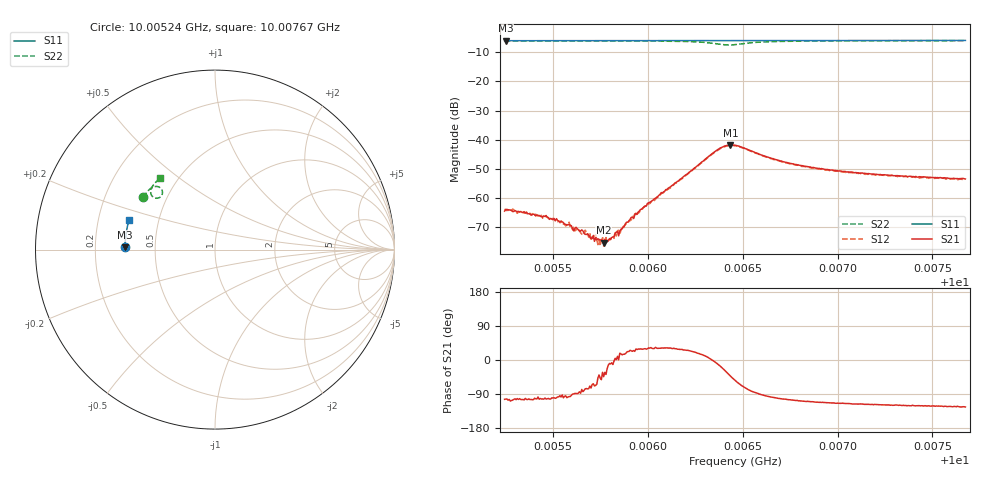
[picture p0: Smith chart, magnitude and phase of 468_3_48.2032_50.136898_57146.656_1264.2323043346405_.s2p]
#  HZ  S  RI  R  50.00
! Rohde & Schwarz Vector Network Analyzer
! Rohde-Schwarz,ZNB20-2Port,1311601062101988,3.16
! Created: UTC 3/20/2024, 11:57:02 AM
! freq[Hz]  re:S11  im:S11  re:S21  im:S21  re:S12  im:S12  re:S22  im:S22
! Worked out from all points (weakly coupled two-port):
!   401 points, 10.00524 GHz to 10.00767 GHz, reference 50 ohm
!   highest |S21| = -41.80 dB at 10.00643 GHz (marker M1); lowest = -75.4 dB at 10.00577 GHz (marker M2)
!   lowest |S11| = -6.0 dB at 10.00525 GHz (marker M3), VSWR 3.01, Z = 16.6 + j0.576 ohm
!   |S11| at or under -10 dB: nowhere
!   |S22| runs from -7.5 to -6.0 dB; largest |S21 - S12| = 0.00052
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1.0005244e10  -0.5009 0.0125  -0.000141 -0.000577  -9.91e-05 -0.000639  -0.4006 0.2916
1.000525e10  -0.5009 0.013  -0.000142 -0.000612  -0.00013 -0.000613  -0.4004 0.2921
1.0005347e10  -0.5009 0.0193  -0.000151 -0.00056  -0.000115 -0.00054  -0.3965 0.2978
1.0005499e10  -0.5007 0.0292  -7.44e-05 -0.000414  -3.9e-05 -0.000443  -0.39 0.3067
1.0005584e10  -0.5006 0.0348  -3.94e-05 -0.000345  5.81e-05 -0.000378  -0.3862 0.312
1.0005651e10  -0.5002 0.039  5.99e-05 -0.000277  5.5e-05 -0.000233  -0.383 0.3158
1.0005681e10  -0.5003 0.0412  5.77e-05 -0.000236  6.57e-05 -0.000237  -0.3815 0.3179
1.0005742e10  -0.5001 0.045  0.00015 -0.000123  0.000142 -0.000124  -0.3783 0.3216
1.000576e10  -0.5 0.0462  0.000154 -9.8e-05  0.000144 -0.00016  -0.3774 0.3226
1.0005766e10  -0.4999 0.0466  0.000122 -0.000118  0.000122 -8.48e-05  -0.377 0.3229
1.0005778e10  -0.4999 0.0474  0.000134 -0.000105  0.000198 -7.03e-05  -0.3764 0.3238
1.0005809e10  -0.4999 0.0494  0.00021 -2.69e-05  0.00021 3.85e-07  -0.3748 0.3257
1.0005863e10  -0.4995 0.053  0.000285 6.95e-05  0.000293 9.89e-05  -0.3714 0.3292
1.000593e10  -0.4991 0.0572  0.000467 0.000196  0.000479 0.00024  -0.3668 0.3337
1.0006058e10  -0.4984 0.0655  0.000953 0.000575  0.000904 0.000623  -0.3562 0.3423
1.0006355e10  -0.4955 0.0846  0.00629 -0.000662  0.00622 -0.000275  -0.2961 0.3331
1.0006434e10  -0.4947 0.089  0.00601 -0.00547  0.00623 -0.00507  -0.306 0.2921
1.0006459e10  -0.4945 0.0906  0.00476 -0.00649  0.00505 -0.00605  -0.3191 0.2865
1.0006683e10  -0.4928 0.105  -0.000856 -0.00438  -0.000591 -0.00436  -0.3577 0.3292
1.0006866e10  -0.4906 0.1167  -0.00113 -0.00312  -0.000983 -0.0031  -0.3498 0.35
1.0007273e10  -0.4848 0.1422  -0.00118 -0.00215  -0.00108 -0.00215  -0.3287 0.3772
1.0007674e10  -0.4774 0.1672  -0.00118 -0.00176  -0.00109 -0.00179  -0.308 0.3971
